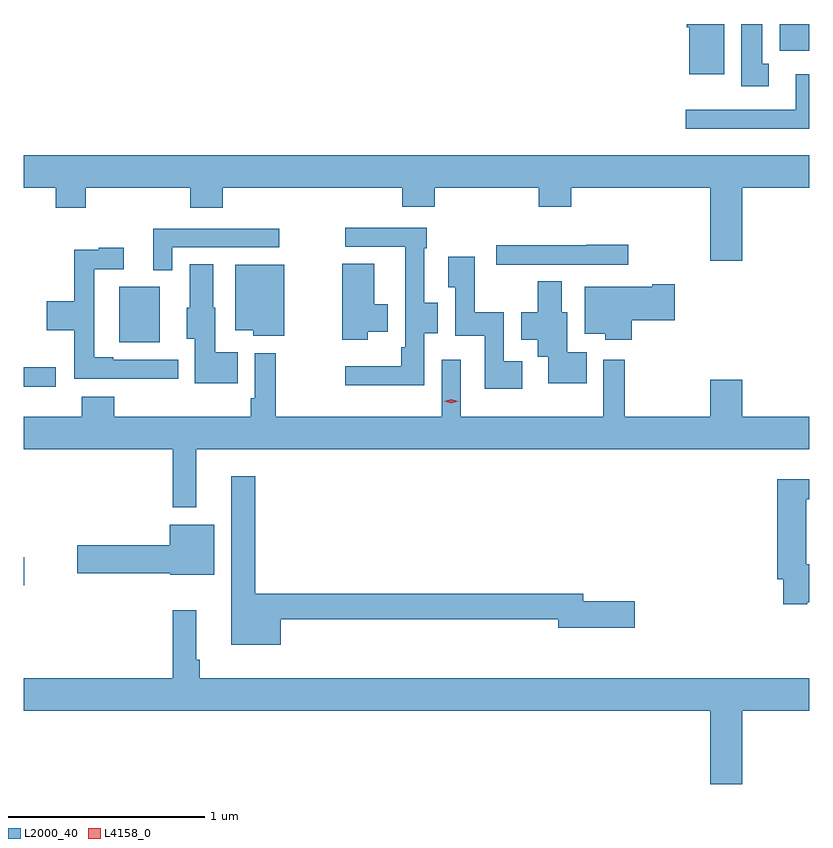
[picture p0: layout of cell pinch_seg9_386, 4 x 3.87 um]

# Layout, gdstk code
import gdstk
lib = gdstk.Library(unit=1e-6, precision=1e-09)
def R(c, l, rs):  # rectangles x0, y0, x1, y1
    for r in rs: c.add(gdstk.rectangle(r[:2], r[2:], *l))
def P(c, l, *ps):  # polygons
    for p in ps: c.add(gdstk.Polygon(p, *l))
L2000_40 = (2000, 40)
L4158_0 = (4158, 0)

pinch_seg9_386 = lib.new_cell('pinch_seg9_386')
R(pinch_seg9_386, L2000_40, [(365.308,1215.706,365.311,1215.848), (365.308,1216.718,365.47,1216.817), (365.795,1216.943,366.001,1217.227), (369.158,1218.428,369.308,1218.565)])
P(pinch_seg9_386, L2000_40, [(368.875,1218.565),(368.684,1218.565),(368.684,1218.548),(368.696,1218.548),(368.696,1218.308),(368.875,1218.308)],
  [(369.103,1218.362),(369.07,1218.362),(369.07,1218.565),(368.963,1218.565),(368.963,1218.249),(369.103,1218.249)],
  [(369.308,1218.31),(369.239,1218.31),(369.239,1218.129),(368.679,1218.129),(368.679,1218.032),(369.308,1218.032)],
  [(368.968,1217.732),(369.308,1217.732),(369.308,1217.896),(365.308,1217.896),(365.308,1217.732),(365.471,1217.732),(365.471,1217.63),(365.624,1217.63),(365.624,1217.732),(366.155,1217.732),(366.155,1217.63),(366.32,1217.63),(366.32,1217.732),(367.235,1217.732),(367.235,1217.633),(367.4,1217.633),(367.4,1217.732),(367.931,1217.732),(367.931,1217.633),(368.096,1217.633),(368.096,1217.732),(368.804,1217.732),(368.804,1217.358),(368.968,1217.358)],
  [(367.347,1216.99),(367.417,1216.99),(367.417,1217.145),(367.347,1217.145),(367.347,1217.423),(367.36,1217.423),(367.36,1217.526),(366.945,1217.526),(366.945,1217.43),(367.25,1217.43),(367.25,1217.233),(367.251,1217.233),(367.251,1216.918),(367.231,1216.918),(367.231,1216.822),(366.945,1216.822),(366.945,1216.724),(367.347,1216.724)],
  [(366.063,1217.427),(366.61,1217.427),(366.61,1217.523),(365.966,1217.523),(365.966,1217.312),(366.063,1217.312)],
  [(368.386,1217.441),(368.173,1217.441),(368.173,1217.438),(367.713,1217.438),(367.713,1217.34),(368.386,1217.34)],
  [(366.094,1216.854),(365.764,1216.854),(365.764,1216.867),(365.667,1216.867),(365.667,1217.316),(365.818,1217.316),(365.818,1217.425),(365.69,1217.425),(365.69,1217.414),(365.566,1217.414),(365.566,1217.154),(365.424,1217.154),(365.424,1217.006),(365.566,1217.006),(365.566,1216.758),(365.851,1216.758),(365.851,1216.757),(366.094,1216.757)],
  [(367.846,1216.846),(367.752,1216.846),(367.752,1217.098),(367.605,1217.098),(367.605,1217.38),(367.469,1217.38),(367.469,1217.224),(367.506,1217.224),(367.506,1216.976),(367.656,1216.976),(367.656,1216.706),(367.846,1216.706)],
  [(367.06,1216.997),(367.162,1216.997),(367.162,1217.137),(367.093,1217.137),(367.093,1217.345),(366.931,1217.345),(366.931,1216.958),(367.06,1216.958)],
  [(366.398,1216.894),(366.283,1216.894),(366.283,1217.121),(366.274,1217.121),(366.274,1217.342),(366.152,1217.342),(366.152,1217.121),(366.137,1217.121),(366.137,1216.962),(366.179,1216.962),(366.179,1216.736),(366.398,1216.736)],
  [(366.634,1217.338),(366.386,1217.338),(366.386,1217.006),(366.476,1217.006),(366.476,1216.976),(366.634,1216.976)],
  [(368.174,1216.894),(368.077,1216.894),(368.077,1217.098),(368.047,1217.098),(368.047,1217.255),(367.925,1217.255),(367.925,1217.098),(367.841,1217.098),(367.841,1216.958),(367.925,1216.958),(367.925,1216.871),(367.98,1216.871),(367.98,1216.736),(368.174,1216.736)],
  [(368.405,1217.057),(368.623,1217.057),(368.623,1217.24),(368.51,1217.24),(368.51,1217.227),(368.165,1217.227),(368.165,1216.988),(368.27,1216.988),(368.27,1216.958),(368.405,1216.958)],
  [(366.187,1216.4),(369.308,1216.4),(369.308,1216.564),(368.968,1216.564),(368.968,1216.753),(368.804,1216.753),(368.804,1216.564),(368.368,1216.564),(368.368,1216.855),(368.259,1216.855),(368.259,1216.564),(367.533,1216.564),(367.533,1216.855),(367.437,1216.855),(367.437,1216.564),(366.592,1216.564),(366.592,1216.888),(366.483,1216.888),(366.483,1216.66),(366.463,1216.66),(366.463,1216.564),(365.768,1216.564),(365.768,1216.666),(365.603,1216.666),(365.603,1216.564),(365.308,1216.564),(365.308,1216.4),(366.066,1216.4),(366.066,1216.104),(366.187,1216.104)],
  [(366.616,1215.534),(368.03,1215.534),(368.03,1215.491),(368.419,1215.491),(368.419,1215.626),(368.158,1215.626),(368.158,1215.662),(366.487,1215.662),(366.487,1216.261),(366.365,1216.261),(366.365,1215.404),(366.616,1215.404)],
  [(369.298,1215.621),(369.308,1215.621),(369.308,1215.814),(369.292,1215.814),(369.292,1216.144),(369.308,1216.144),(369.308,1216.246),(369.146,1216.246),(369.146,1215.737),(369.175,1215.737),(369.175,1215.609),(369.298,1215.609)],
  [(366.277,1216.015),(366.05,1216.015),(366.05,1215.909),(365.58,1215.909),(365.58,1215.767),(366.054,1215.767),(366.054,1215.761),(366.277,1215.761)],
  [(368.968,1215.068),(369.308,1215.068),(369.308,1215.232),(366.205,1215.232),(366.205,1215.328),(366.187,1215.328),(366.187,1215.58),(366.066,1215.58),(366.066,1215.232),(365.308,1215.232),(365.308,1215.068),(368.804,1215.068),(368.804,1214.694),(368.968,1214.694)])
P(pinch_seg9_386, L4158_0, [(367.485,1216.634),(367.45,1216.644),(367.45,1216.644),(367.45,1216.644),(367.485,1216.654),(367.52,1216.644),(367.52,1216.644),(367.52,1216.644)])

lib.write_gds('pinch_seg9_386.gds')
